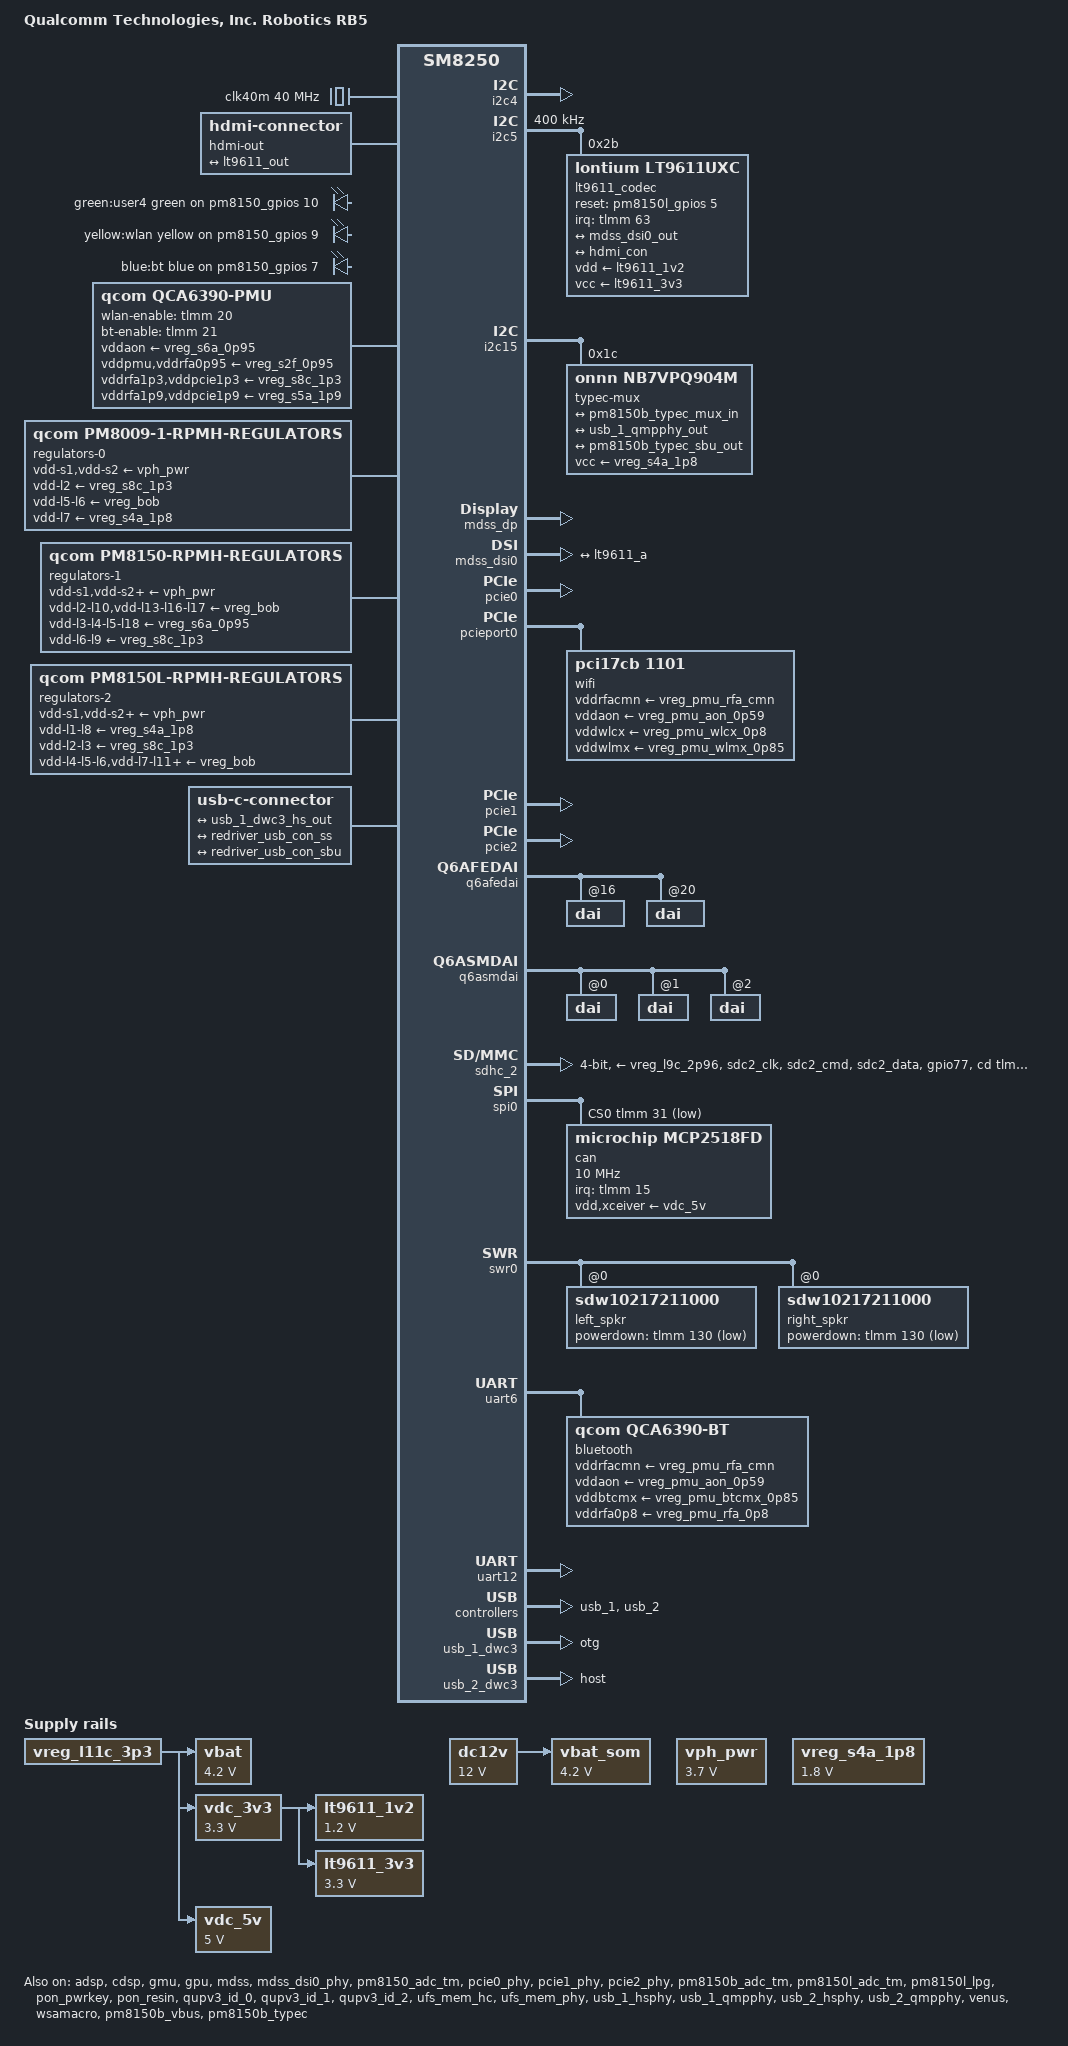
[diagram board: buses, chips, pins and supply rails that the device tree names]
// SPDX-License-Identifier: BSD-3-Clause
/*
 * Copyright (c) 2020, Linaro Ltd.
 */

/dts-v1/;

#include <dt-bindings/leds/common.h>
#include <dt-bindings/regulator/qcom,rpmh-regulator.h>
#include <dt-bindings/sound/qcom,q6afe.h>
#include <dt-bindings/sound/qcom,q6asm.h>
#include <dt-bindings/usb/pd.h>
#include "sm8250.dtsi"
#include "pm8150.dtsi"
#include "pm8150b.dtsi"
#include "pm8150l.dtsi"

/ {
	model = "Qualcomm Technologies, Inc. Robotics RB5";
	compatible = "qcom,qrb5165-rb5", "qcom,sm8250";
	qcom,msm-id = <455 0x20001>;
	qcom,board-id = <11 3>;

	aliases {
		serial0 = &uart12;
		serial1 = &uart6;
		sdhc2 = &sdhc_2;
	};

	chosen {
		stdout-path = "serial0:115200n8";
	};

	/* Fixed crystal oscillator dedicated to MCP2518FD */
	clk40m: can-clock {
		compatible = "fixed-clock";
		#clock-cells = <0>;
		clock-frequency = <40000000>;
	};

	dc12v: dc12v-regulator {
		compatible = "regulator-fixed";
		regulator-name = "DC12V";
		regulator-min-microvolt = <12000000>;
		regulator-max-microvolt = <12000000>;
		regulator-always-on;
	};

	hdmi-out {
		compatible = "hdmi-connector";
		type = "a";

		port {
			hdmi_con: endpoint {
				remote-endpoint = <&lt9611_out>;
			};
		};
	};

	leds {
		compatible = "gpio-leds";

		led-user4 {
			label = "green:user4";
			function = LED_FUNCTION_INDICATOR;
			color = <LED_COLOR_ID_GREEN>;
			gpios = <&pm8150_gpios 10 GPIO_ACTIVE_HIGH>;
			default-state = "off";
			panic-indicator;
		};

		led-wlan {
			label = "yellow:wlan";
			function = LED_FUNCTION_WLAN;
			color = <LED_COLOR_ID_YELLOW>;
			gpios = <&pm8150_gpios 9 GPIO_ACTIVE_HIGH>;
			linux,default-trigger = "phy0tx";
			default-state = "off";
		};

		led-bt {
			label = "blue:bt";
			function = LED_FUNCTION_BLUETOOTH;
			color = <LED_COLOR_ID_BLUE>;
			gpios = <&pm8150_gpios 7 GPIO_ACTIVE_HIGH>;
			linux,default-trigger = "bluetooth-power";
			default-state = "off";
		};
	};

	lt9611_1v2: lt9611-vdd12-regulator {
		compatible = "regulator-fixed";
		regulator-name = "LT9611_1V2";

		vin-supply = <&vdc_3v3>;
		regulator-min-microvolt = <1200000>;
		regulator-max-microvolt = <1200000>;
	};

	lt9611_3v3: lt9611-3v3 {
		compatible = "regulator-fixed";
		regulator-name = "LT9611_3V3";

		vin-supply = <&vdc_3v3>;
		regulator-min-microvolt = <3300000>;
		regulator-max-microvolt = <3300000>;
		regulator-boot-on;
		regulator-always-on;
	};

	qca6390-pmu {
		compatible = "qcom,qca6390-pmu";

		pinctrl-names = "default";
		pinctrl-0 = <&bt_en_state>, <&wlan_en_state>;

		vddaon-supply = <&vreg_s6a_0p95>;
		vddpmu-supply = <&vreg_s2f_0p95>;
		vddrfa0p95-supply = <&vreg_s2f_0p95>;
		vddrfa1p3-supply = <&vreg_s8c_1p3>;
		vddrfa1p9-supply = <&vreg_s5a_1p9>;
		vddpcie1p3-supply = <&vreg_s8c_1p3>;
		vddpcie1p9-supply = <&vreg_s5a_1p9>;
		vddio-supply = <&vreg_s4a_1p8>;

		wlan-enable-gpios = <&tlmm 20 GPIO_ACTIVE_HIGH>;
		bt-enable-gpios = <&tlmm 21 GPIO_ACTIVE_HIGH>;

		regulators {
			vreg_pmu_rfa_cmn: ldo0 {
				regulator-name = "vreg_pmu_rfa_cmn";
			};

			vreg_pmu_aon_0p59: ldo1 {
				regulator-name = "vreg_pmu_aon_0p59";
			};

			vreg_pmu_wlcx_0p8: ldo2 {
				regulator-name = "vreg_pmu_wlcx_0p8";
			};

			vreg_pmu_wlmx_0p85: ldo3 {
				regulator-name = "vreg_pmu_wlmx_0p85";
			};

			vreg_pmu_btcmx_0p85: ldo4 {
				regulator-name = "vreg_pmu_btcmx_0p85";
			};

			vreg_pmu_rfa_0p8: ldo5 {
				regulator-name = "vreg_pmu_rfa_0p8";
			};

			vreg_pmu_rfa_1p2: ldo6 {
				regulator-name = "vreg_pmu_rfa_1p2";
			};

			vreg_pmu_rfa_1p7: ldo7 {
				regulator-name = "vreg_pmu_rfa_1p7";
			};

			vreg_pmu_pcie_0p9: ldo8 {
				regulator-name = "vreg_pmu_pcie_0p9";
			};

			vreg_pmu_pcie_1p8: ldo9 {
				regulator-name = "vreg_pmu_pcie_1p8";
			};
		};
	};

	thermal-zones {
		conn-thermal {
			thermal-sensors = <&pm8150b_adc_tm 0>;

			trips {
				active-config0 {
					temperature = <125000>;
					hysteresis = <1000>;
					type = "critical";
				};
			};
		};

		pm8150l-pcb-thermal {
			thermal-sensors = <&pm8150l_adc_tm 1>;

			trips {
				active-config0 {
					temperature = <50000>;
					hysteresis = <4000>;
					type = "passive";
				};
			};
		};

		skin-msm-thermal {
			thermal-sensors = <&pm8150l_adc_tm 0>;

			trips {
				active-config0 {
					temperature = <50000>;
					hysteresis = <4000>;
					type = "passive";
				};
			};
		};

		wifi-thermal {
			thermal-sensors = <&pm8150_adc_tm 1>;

			trips {
				active-config0 {
					temperature = <52000>;
					hysteresis = <4000>;
					type = "passive";
				};
			};
		};

		xo-thermal {
			thermal-sensors = <&pm8150_adc_tm 0>;

			trips {
				active-config0 {
					temperature = <50000>;
					hysteresis = <4000>;
					type = "passive";
				};
			};
		};
	};

	vbat: vbat-regulator {
		compatible = "regulator-fixed";
		regulator-name = "VBAT";
		vin-supply = <&vreg_l11c_3p3>;
		regulator-min-microvolt = <4200000>;
		regulator-max-microvolt = <4200000>;
		regulator-always-on;
	};

	vbat_som: vbat-som-regulator {
		compatible = "regulator-fixed";
		regulator-name = "VBAT_SOM";
		vin-supply = <&dc12v>;
		regulator-min-microvolt = <4200000>;
		regulator-max-microvolt = <4200000>;
		regulator-always-on;
	};

	vdc_3v3: vdc-3v3-regulator {
		compatible = "regulator-fixed";
		regulator-name = "VDC_3V3";
		vin-supply = <&vreg_l11c_3p3>;
		regulator-min-microvolt = <3300000>;
		regulator-max-microvolt = <3300000>;
		regulator-always-on;
	};

	vdc_5v: vdc-5v-regulator {
		compatible = "regulator-fixed";
		regulator-name = "VDC_5V";

		regulator-min-microvolt = <5000000>;
		regulator-max-microvolt = <5000000>;
		regulator-always-on;
		vin-supply = <&vreg_l11c_3p3>;
	};

	vph_pwr: vph-pwr-regulator {
		compatible = "regulator-fixed";
		regulator-name = "vph_pwr";
		regulator-min-microvolt = <3700000>;
		regulator-max-microvolt = <3700000>;
		regulator-always-on;
	};

	vreg_s4a_1p8: vreg-s4a-1p8 {
		compatible = "regulator-fixed";
		regulator-name = "vreg_s4a_1p8";
		regulator-min-microvolt = <1800000>;
		regulator-max-microvolt = <1800000>;
		regulator-always-on;
	};
};

&adsp {
	status = "okay";
	firmware-name = "qcom/sm8250/adsp.mbn";
};

&apps_rsc {
	regulators-0 {
		compatible = "qcom,pm8009-1-rpmh-regulators";
		qcom,pmic-id = "f";

		vdd-s1-supply = <&vph_pwr>;
		vdd-s2-supply = <&vph_pwr>;
		vdd-l2-supply = <&vreg_s8c_1p3>;
		vdd-l5-l6-supply = <&vreg_bob>;
		vdd-l7-supply = <&vreg_s4a_1p8>;

		vreg_s2f_0p95: smps2 {
			regulator-name = "vreg_s2f_0p95";
			regulator-min-microvolt = <900000>;
			regulator-max-microvolt = <952000>;
			regulator-initial-mode = <RPMH_REGULATOR_MODE_AUTO>;
		};

		vreg_l1f_1p1: ldo1 {
			regulator-name = "vreg_l1f_1p1";
			regulator-min-microvolt = <1104000>;
			regulator-max-microvolt = <1104000>;
			regulator-initial-mode = <RPMH_REGULATOR_MODE_HPM>;
		};

		vreg_l2f_1p2: ldo2 {
			regulator-name = "vreg_l2f_1p2";
			regulator-min-microvolt = <1200000>;
			regulator-max-microvolt = <1200000>;
			regulator-initial-mode = <RPMH_REGULATOR_MODE_HPM>;
		};

		vreg_l6f_2p8: ldo6 {
			regulator-name = "vreg_l6f_2p8";
			regulator-min-microvolt = <2800000>;
			regulator-max-microvolt = <2800000>;
			regulator-initial-mode = <RPMH_REGULATOR_MODE_HPM>;
		};

		vreg_l7f_1p8: ldo7 {
			regulator-name = "vreg_l7f_1p8";
			regulator-min-microvolt = <1800000>;
			regulator-max-microvolt = <1800000>;
			regulator-initial-mode = <RPMH_REGULATOR_MODE_HPM>;
		};
	};

	regulators-1 {
		compatible = "qcom,pm8150-rpmh-regulators";
		qcom,pmic-id = "a";

		vdd-s1-supply = <&vph_pwr>;
		vdd-s2-supply = <&vph_pwr>;
		vdd-s3-supply = <&vph_pwr>;
		vdd-s4-supply = <&vph_pwr>;
		vdd-s5-supply = <&vph_pwr>;
		vdd-s6-supply = <&vph_pwr>;
		vdd-s7-supply = <&vph_pwr>;
		vdd-s8-supply = <&vph_pwr>;
		vdd-s9-supply = <&vph_pwr>;
		vdd-s10-supply = <&vph_pwr>;
		vdd-l2-l10-supply = <&vreg_bob>;
		vdd-l3-l4-l5-l18-supply = <&vreg_s6a_0p95>;
		vdd-l6-l9-supply = <&vreg_s8c_1p3>;
		vdd-l7-l12-l14-l15-supply = <&vreg_s5a_1p9>;
		vdd-l13-l16-l17-supply = <&vreg_bob>;

		vreg_l2a_3p1: ldo2 {
			regulator-name = "vreg_l2a_3p1";
			regulator-min-microvolt = <3072000>;
			regulator-max-microvolt = <3072000>;
			regulator-initial-mode = <RPMH_REGULATOR_MODE_HPM>;
		};

		vreg_l3a_0p9: ldo3 {
			regulator-name = "vreg_l3a_0p9";
			regulator-min-microvolt = <928000>;
			regulator-max-microvolt = <932000>;
			regulator-initial-mode = <RPMH_REGULATOR_MODE_HPM>;
		};

		vreg_l5a_0p88: ldo5 {
			regulator-name = "vreg_l5a_0p88";
			regulator-min-microvolt = <880000>;
			regulator-max-microvolt = <880000>;
			regulator-initial-mode = <RPMH_REGULATOR_MODE_HPM>;
		};

		vreg_l6a_1p2: ldo6 {
			regulator-name = "vreg_l6a_1p2";
			regulator-min-microvolt = <1200000>;
			regulator-max-microvolt = <1200000>;
			regulator-initial-mode = <RPMH_REGULATOR_MODE_HPM>;
		};

		vreg_l7a_1p7: ldo7 {
			regulator-name = "vreg_l7a_1p7";
			regulator-min-microvolt = <1704000>;
			regulator-max-microvolt = <1800000>;
			regulator-initial-mode = <RPMH_REGULATOR_MODE_HPM>;
		};

		vreg_l9a_1p2: ldo9 {
			regulator-name = "vreg_l9a_1p2";
			regulator-min-microvolt = <1200000>;
			regulator-max-microvolt = <1200000>;
			regulator-initial-mode = <RPMH_REGULATOR_MODE_HPM>;
		};

		vreg_l10a_1p8: ldo10 {
			regulator-name = "vreg_l10a_1p8";
			regulator-min-microvolt = <1800000>;
			regulator-max-microvolt = <1800000>;
			regulator-initial-mode = <RPMH_REGULATOR_MODE_HPM>;
		};

		vreg_l12a_1p8: ldo12 {
			regulator-name = "vreg_l12a_1p8";
			regulator-min-microvolt = <1800000>;
			regulator-max-microvolt = <1800000>;
			regulator-initial-mode = <RPMH_REGULATOR_MODE_HPM>;
		};

		vreg_l13a_ts_3p0: ldo13 {
			regulator-name = "vreg_l13a_ts_3p0";
			regulator-min-microvolt = <3008000>;
			regulator-max-microvolt = <3008000>;
			regulator-initial-mode = <RPMH_REGULATOR_MODE_HPM>;
		};

		vreg_l14a_1p8: ldo14 {
			regulator-name = "vreg_l14a_1p8";
			regulator-min-microvolt = <1800000>;
			regulator-max-microvolt = <1880000>;
			regulator-initial-mode = <RPMH_REGULATOR_MODE_HPM>;
		};

		vreg_l15a_1p8: ldo15 {
			regulator-name = "vreg_l15a_1p8";
			regulator-min-microvolt = <1800000>;
			regulator-max-microvolt = <1800000>;
			regulator-initial-mode = <RPMH_REGULATOR_MODE_HPM>;
		};

		vreg_l16a_2p7: ldo16 {
			regulator-name = "vreg_l16a_2p7";
			regulator-min-microvolt = <2704000>;
			regulator-max-microvolt = <2960000>;
			regulator-initial-mode = <RPMH_REGULATOR_MODE_HPM>;
		};

		vreg_l17a_3p0: ldo17 {
			regulator-name = "vreg_l17a_3p0";
			regulator-min-microvolt = <2856000>;
			regulator-max-microvolt = <3008000>;
			regulator-initial-mode = <RPMH_REGULATOR_MODE_HPM>;
		};

		vreg_l18a_0p92: ldo18 {
			regulator-name = "vreg_l18a_0p92";
			regulator-min-microvolt = <800000>;
			regulator-max-microvolt = <912000>;
			regulator-initial-mode = <RPMH_REGULATOR_MODE_HPM>;
		};

		vreg_s5a_1p9: smps5 {
			regulator-name = "vreg_s5a_1p9";
			regulator-min-microvolt = <1904000>;
			regulator-max-microvolt = <2000000>;
			regulator-initial-mode = <RPMH_REGULATOR_MODE_HPM>;
		};

		vreg_s6a_0p95: smps6 {
			regulator-name = "vreg_s6a_0p95";
			regulator-min-microvolt = <920000>;
			regulator-max-microvolt = <1128000>;
			regulator-initial-mode = <RPMH_REGULATOR_MODE_HPM>;
		};
	};

	regulators-2 {
		compatible = "qcom,pm8150l-rpmh-regulators";
		qcom,pmic-id = "c";

		vdd-s1-supply = <&vph_pwr>;
		vdd-s2-supply = <&vph_pwr>;
		vdd-s3-supply = <&vph_pwr>;
		vdd-s4-supply = <&vph_pwr>;
		vdd-s5-supply = <&vph_pwr>;
		vdd-s6-supply = <&vph_pwr>;
		vdd-s7-supply = <&vph_pwr>;
		vdd-s8-supply = <&vph_pwr>;
		vdd-l1-l8-supply = <&vreg_s4a_1p8>;
		vdd-l2-l3-supply = <&vreg_s8c_1p3>;
		vdd-l4-l5-l6-supply = <&vreg_bob>;
		vdd-l7-l11-supply = <&vreg_bob>;
		vdd-l9-l10-supply = <&vreg_bob>;
		vdd-bob-supply = <&vph_pwr>;

		vreg_bob: bob {
			regulator-name = "vreg_bob";
			regulator-min-microvolt = <3008000>;
			regulator-max-microvolt = <4000000>;
			regulator-initial-mode = <RPMH_REGULATOR_MODE_AUTO>;
		};

		vreg_l1c_1p8: ldo1 {
			regulator-name = "vreg_l1c_1p8";
			regulator-min-microvolt = <1800000>;
			regulator-max-microvolt = <1800000>;
			regulator-initial-mode = <RPMH_REGULATOR_MODE_HPM>;
		};

		vreg_l2c_1p2: ldo2 {
			regulator-name = "vreg_l2c_1p2";
			regulator-min-microvolt = <1200000>;
			regulator-max-microvolt = <1200000>;
			regulator-initial-mode = <RPMH_REGULATOR_MODE_HPM>;
		};

		vreg_l3c_0p8: ldo3 {
			regulator-name = "vreg_l3c_0p8";
			regulator-min-microvolt = <800000>;
			regulator-max-microvolt = <800000>;
			regulator-initial-mode = <RPMH_REGULATOR_MODE_HPM>;
		};

		vreg_l4c_1p7: ldo4 {
			regulator-name = "vreg_l4c_1p7";
			regulator-min-microvolt = <1704000>;
			regulator-max-microvolt = <2928000>;
			regulator-initial-mode = <RPMH_REGULATOR_MODE_HPM>;
		};

		vreg_l5c_1p8: ldo5 {
			regulator-name = "vreg_l5c_1p8";
			regulator-min-microvolt = <1800000>;
			regulator-max-microvolt = <2928000>;
			regulator-initial-mode = <RPMH_REGULATOR_MODE_HPM>;
		};

		vreg_l6c_2p96: ldo6 {
			regulator-name = "vreg_l6c_2p96";
			regulator-min-microvolt = <1800000>;
			regulator-max-microvolt = <2960000>;
			regulator-initial-mode = <RPMH_REGULATOR_MODE_HPM>;
		};

		vreg_l7c_cam_vcm0_2p85: ldo7 {
			regulator-name = "vreg_l7c_cam_vcm0_2p85";
			regulator-min-microvolt = <2856000>;
			regulator-max-microvolt = <3104000>;
			regulator-initial-mode = <RPMH_REGULATOR_MODE_HPM>;
		};

		vreg_l8c_1p8: ldo8 {
			regulator-name = "vreg_l8c_1p8";
			regulator-min-microvolt = <1800000>;
			regulator-max-microvolt = <1800000>;
			regulator-initial-mode = <RPMH_REGULATOR_MODE_HPM>;
		};

		vreg_l9c_2p96: ldo9 {
			regulator-name = "vreg_l9c_2p96";
			regulator-min-microvolt = <2704000>;
			regulator-max-microvolt = <2960000>;
			regulator-initial-mode = <RPMH_REGULATOR_MODE_HPM>;
		};

		vreg_l10c_3p0: ldo10 {
			regulator-name = "vreg_l10c_3p0";
			regulator-min-microvolt = <3000000>;
			regulator-max-microvolt = <3000000>;
			regulator-initial-mode = <RPMH_REGULATOR_MODE_HPM>;
		};

		vreg_l11c_3p3: ldo11 {
			regulator-name = "vreg_l11c_3p3";
			regulator-min-microvolt = <3296000>;
			regulator-max-microvolt = <3296000>;
			regulator-initial-mode = <RPMH_REGULATOR_MODE_HPM>;
			regulator-always-on;
		};

		vreg_s8c_1p3: smps8 {
			regulator-name = "vreg_s8c_1p3";
			regulator-min-microvolt = <1352000>;
			regulator-max-microvolt = <1352000>;
			regulator-initial-mode = <RPMH_REGULATOR_MODE_HPM>;
		};
	};
};

&cdsp {
	status = "okay";
	firmware-name = "qcom/sm8250/cdsp.mbn";
};

&gmu {
	status = "okay";
};

&gpu {
	status = "okay";

	zap-shader {
		memory-region = <&gpu_mem>;
		firmware-name = "qcom/sm8250/a650_zap.mbn";
	};
};

/* LS-I2C0 */
&i2c4 {
	status = "okay";
};

&i2c5 {
	status = "okay";
	clock-frequency = <400000>;

	lt9611_codec: hdmi-bridge@2b {
		compatible = "lontium,lt9611uxc";
		reg = <0x2b>;
		#sound-dai-cells = <1>;

		interrupts-extended = <&tlmm 63 IRQ_TYPE_EDGE_FALLING>;

		reset-gpios = <&pm8150l_gpios 5 GPIO_ACTIVE_HIGH>;

		vdd-supply = <&lt9611_1v2>;
		vcc-supply = <&lt9611_3v3>;

		pinctrl-names = "default";
		pinctrl-0 = <&lt9611_irq_pin &lt9611_rst_pin>;

		ports {
			#address-cells = <1>;
			#size-cells = <0>;

			port@0 {
				reg = <0>;

				lt9611_a: endpoint {
					remote-endpoint = <&mdss_dsi0_out>;
				};
			};

#if 0
			port@1 {
				reg = <1>;

				lt9611_b: endpoint {
					remote-endpoint = <&mdss_dsi1_out>;
				};
			};
#endif

			port@2 {
				reg = <2>;

				lt9611_out: endpoint {
					remote-endpoint = <&hdmi_con>;
				};
			};

		};
	};
};

/* LS-I2C1 */
&i2c15 {
	status = "okay";

	typec-mux@1c {
		compatible = "onnn,nb7vpq904m";
		reg = <0x1c>;

		vcc-supply = <&vreg_s4a_1p8>;

		retimer-switch;
		orientation-switch;

		ports {
			#address-cells = <1>;
			#size-cells = <0>;

			port@0 {
				reg = <0>;

				redriver_usb_con_ss: endpoint {
					remote-endpoint = <&pm8150b_typec_mux_in>;
				};
			};

			port@1 {
				reg = <1>;

				redriver_phy_con_ss: endpoint {
					remote-endpoint = <&usb_1_qmpphy_out>;
					data-lanes = <0 1 2 3>;
				};
			};

			port@2 {
				reg = <2>;

				redriver_usb_con_sbu: endpoint {
					remote-endpoint = <&pm8150b_typec_sbu_out>;
				};
			};
		};
	};
};

&mdss {
	status = "okay";
};

&mdss_dp {
	status = "okay";
};

&mdss_dp_out {
	data-lanes = <0 1>;
	remote-endpoint = <&usb_1_qmpphy_dp_in>;
};

&mdss_dsi0 {
	status = "okay";
	vdda-supply = <&vreg_l9a_1p2>;

#if 0
	qcom,dual-dsi-mode;
	qcom,master-dsi;
#endif

	ports {
		port@1 {
			endpoint {
				remote-endpoint = <&lt9611_a>;
				data-lanes = <0 1 2 3>;
			};
		};
	};
};

&mdss_dsi0_phy {
	status = "okay";
	vdds-supply = <&vreg_l5a_0p88>;
};

&pm8150_adc {
	channel@4c {
		reg = <ADC5_XO_THERM_100K_PU>;
		qcom,ratiometric;
		qcom,hw-settle-time = <200>;
		label = "xo_therm";
	};

	channel@4e {
		reg = <ADC5_AMUX_THM2_100K_PU>;
		qcom,ratiometric;
		qcom,hw-settle-time = <200>;
		label = "wifi_therm";
	};
};

&pm8150_adc_tm {
	status = "okay";

	xo-therm@0 {
		reg = <0>;
		io-channels = <&pm8150_adc ADC5_XO_THERM_100K_PU>;
		qcom,ratiometric;
		qcom,hw-settle-time-us = <200>;
	};

	wifi-therm@1 {
		reg = <1>;
		io-channels = <&pm8150_adc ADC5_AMUX_THM2_100K_PU>;
		qcom,ratiometric;
		qcom,hw-settle-time-us = <200>;
	};
};

&pcie0 {
	status = "okay";
};

&pcie0_phy {
	status = "okay";
	vdda-phy-supply = <&vreg_l5a_0p88>;
	vdda-pll-supply = <&vreg_l9a_1p2>;
};

&pcieport0 {
	wifi@0 {
		compatible = "pci17cb,1101";
		reg = <0x10000 0x0 0x0 0x0 0x0>;

		vddrfacmn-supply = <&vreg_pmu_rfa_cmn>;
		vddaon-supply = <&vreg_pmu_aon_0p59>;
		vddwlcx-supply = <&vreg_pmu_wlcx_0p8>;
		vddwlmx-supply = <&vreg_pmu_wlmx_0p85>;
		vddrfa0p8-supply = <&vreg_pmu_rfa_0p8>;
		vddrfa1p2-supply = <&vreg_pmu_rfa_1p2>;
		vddrfa1p7-supply = <&vreg_pmu_rfa_1p7>;
		vddpcie0p9-supply = <&vreg_pmu_pcie_0p9>;
		vddpcie1p8-supply = <&vreg_pmu_pcie_1p8>;
	};
};

&pcie1 {
	status = "okay";
};

&pcie1_phy {
	status = "okay";
	vdda-phy-supply = <&vreg_l5a_0p88>;
	vdda-pll-supply = <&vreg_l9a_1p2>;
};

&pcie2 {
	status = "okay";
};

&pcie2_phy {
	status = "okay";
	vdda-phy-supply = <&vreg_l5a_0p88>;
	vdda-pll-supply = <&vreg_l9a_1p2>;
};

&pm8150_gpios {
	gpio-reserved-ranges = <1 1>, <3 2>, <7 1>;
	gpio-line-names =
		"NC",
		"OPTION2",
		"PM_GPIO-F",
		"PM_SLP_CLK_IN",
		"OPTION1",
		"VOL_UP_N",
		"PM8250_GPIO7", /* Blue LED */
		"SP_ARI_PWR_ALARM",
		"GPIO_9_P", /* Yellow LED */
		"GPIO_10_P"; /* Green LED */
};

&pm8150b_adc {
	channel@4f {
		reg = <ADC5_AMUX_THM3_100K_PU>;
		qcom,ratiometric;
		qcom,hw-settle-time = <200>;
		label = "conn_therm";
	};
};

&pm8150b_adc_tm {
	status = "okay";

	conn-therm@0 {
		reg = <0>;
		io-channels = <&pm8150b_adc ADC5_AMUX_THM3_100K_PU>;
		qcom,ratiometric;
		qcom,hw-settle-time-us = <200>;
	};
};

&pm8150b_gpios {
	gpio-line-names =
		"NC",
		"NC",
		"NC",
		"NC",
		"HAP_BOOST_EN", /* SOM */
		"SMB_STAT", /* SOM */
		"NC",
		"NC",
		"SDM_FORCE_USB_BOOT",
		"NC",
		"NC",
		"NC";
};

&pm8150l_adc {
	channel@4e {
		reg = <ADC5_AMUX_THM2_100K_PU>;
		qcom,ratiometric;
		qcom,hw-settle-time = <200>;
		label = "skin_msm_therm";
	};

	channel@4f {
		reg = <ADC5_AMUX_THM3_100K_PU>;
		qcom,ratiometric;
		qcom,hw-settle-time = <200>;
		label = "pm8150l_therm";
	};
};

&pm8150l_adc_tm {
	status = "okay";

	skin-msm-therm@0 {
		reg = <0>;
		io-channels = <&pm8150l_adc ADC5_AMUX_THM2_100K_PU>;
		qcom,ratiometric;
		qcom,hw-settle-time-us = <200>;
	};

	pm8150l-therm@1 {
		reg = <1>;
		io-channels = <&pm8150l_adc ADC5_AMUX_THM3_100K_PU>;
		qcom,ratiometric;
		qcom,hw-settle-time-us = <200>;
	};
};

&pm8150l_gpios {
	gpio-line-names =
		"NC",
		"PM3003A_EN",
		"NC",
		"NC",
		"PM_GPIO5", /* HDMI RST_N */
		"PM_GPIO-A", /* PWM */
		"PM_GPIO7",
		"NC",
		"NC",
		"PM_GPIO-B",
		"NC",
		"PM3003A_MODE";

	lt9611_rst_pin: lt9611-rst-state {
		pins = "gpio5";
		function = "normal";

		output-high;
		input-disable;
		power-source = <0>;
	};
};

&pm8150l_lpg {
	status = "okay";

	#address-cells = <1>;
	#size-cells = <0>;

	led@1 {
		reg = <1>;
		color = <LED_COLOR_ID_GREEN>;
		function = LED_FUNCTION_HEARTBEAT;
		function-enumerator = <3>;

		linux,default-trigger = "heartbeat";
		default-state = "on";
	};

	led@2 {
		reg = <2>;
		color = <LED_COLOR_ID_GREEN>;
		function = LED_FUNCTION_INDICATOR;
		function-enumerator = <2>;
		default-state = "on";
	};

	led@3 {
		reg = <3>;
		color = <LED_COLOR_ID_GREEN>;
		function = LED_FUNCTION_INDICATOR;
		function-enumerator = <1>;
	};
};

&pon_pwrkey {
	status = "okay";
};

&pon_resin {
	status = "okay";

	linux,code = <KEY_VOLUMEDOWN>;
};

&qupv3_id_0 {
	status = "okay";
};

&qupv3_id_1 {
	status = "okay";
};

&qupv3_id_2 {
	status = "okay";
};

&q6afedai {
	dai@16 {
		reg = <PRIMARY_MI2S_RX>;
		qcom,sd-lines = <0 1 2 3>;
	};
};

/* TERT I2S Uses 1 I2S SD Lines for audio on LT9611 HDMI Bridge */
&q6afedai {
	dai@20 {
		reg = <TERTIARY_MI2S_RX>;
		qcom,sd-lines = <0>;
	};
};

&q6asmdai {
	dai@0 {
		reg = <0>;
	};

	dai@1 {
		reg = <1>;
	};

	dai@2 {
		reg = <2>;
	};
};

&sdhc_2 {
	status = "okay";
	pinctrl-names = "default";
	pinctrl-0 = <&sdc2_default_state &sdc2_card_det_n>;
	vmmc-supply = <&vreg_l9c_2p96>;
	vqmmc-supply = <&vreg_l6c_2p96>;
	cd-gpios = <&tlmm 77 GPIO_ACTIVE_LOW>;
	bus-width = <4>;
	no-sdio;
	no-mmc;
};

&sound {
	compatible = "qcom,qrb5165-rb5-sndcard";
	pinctrl-0 = <&tert_mi2s_active>;
	pinctrl-names = "default";
	model = "Qualcomm-RB5-WSA8815-Speakers-DMIC0";
	audio-routing =
		"SpkrLeft IN", "WSA_SPK1 OUT",
		"SpkrRight IN", "WSA_SPK2 OUT",
		"VA DMIC0", "vdd-micb",
		"VA DMIC1", "vdd-micb",
		"MM_DL1",  "MultiMedia1 Playback",
		"MM_DL2",  "MultiMedia2 Playback",
		"MultiMedia3 Capture", "MM_UL3";

	mm1-dai-link {
		link-name = "MultiMedia1";
		cpu {
			sound-dai = <&q6asmdai  MSM_FRONTEND_DAI_MULTIMEDIA1>;
		};
	};

	mm2-dai-link {
		link-name = "MultiMedia2";
		cpu {
			sound-dai = <&q6asmdai  MSM_FRONTEND_DAI_MULTIMEDIA2>;
		};
	};

	mm3-dai-link {
		link-name = "MultiMedia3";
		cpu {
			sound-dai = <&q6asmdai  MSM_FRONTEND_DAI_MULTIMEDIA3>;
		};
	};

	hdmi-dai-link {
		link-name = "HDMI Playback";
		cpu {
			sound-dai = <&q6afedai TERTIARY_MI2S_RX>;
		};

		platform {
			sound-dai = <&q6routing>;
		};

		codec {
			sound-dai = <&lt9611_codec 0>;
		};
	};

	dma-dai-link {
		link-name = "WSA Playback";
		cpu {
			sound-dai = <&q6afedai WSA_CODEC_DMA_RX_0>;
		};

		platform {
			sound-dai = <&q6routing>;
		};

		codec {
			sound-dai = <&left_spkr>, <&right_spkr>, <&swr0 0>, <&wsamacro 0>;
		};
	};

	va-dai-link {
		link-name = "VA Capture";
		cpu {
			sound-dai = <&q6afedai VA_CODEC_DMA_TX_0>;
		};

		platform {
			sound-dai = <&q6routing>;
		};

		codec {
			sound-dai = <&vamacro 0>;
		};
	};
};

/* CAN */
&spi0 {
	status = "okay";
	pinctrl-names = "default";
	pinctrl-0 = <&qup_spi0_data_clk>, <&qup_spi0_cs_gpio>;
	cs-gpios = <&tlmm 31 GPIO_ACTIVE_LOW>;

	can@0 {
		compatible = "microchip,mcp2518fd";
		reg = <0>;
		clocks = <&clk40m>;
		interrupts-extended = <&tlmm 15 IRQ_TYPE_LEVEL_LOW>;
		spi-max-frequency = <10000000>;
		vdd-supply = <&vdc_5v>;
		xceiver-supply = <&vdc_5v>;
	};
};

&swr0 {
	status = "okay";

	left_spkr: speaker@0,3 {
		compatible = "sdw10217211000";
		reg = <0 3>;
		powerdown-gpios = <&tlmm 130 GPIO_ACTIVE_LOW>;
		#thermal-sensor-cells = <0>;
		sound-name-prefix = "SpkrLeft";
		#sound-dai-cells = <0>;
	};

	right_spkr: speaker@0,4 {
		compatible = "sdw10217211000";
		reg = <0 4>;
		powerdown-gpios = <&tlmm 130 GPIO_ACTIVE_LOW>;
		#thermal-sensor-cells = <0>;
		sound-name-prefix = "SpkrRight";
		#sound-dai-cells = <0>;
	};
};

&tlmm {
	gpio-reserved-ranges = <40 4>;
	gpio-line-names =
		"GPIO-MM",
		"GPIO-NN",
		"GPIO-OO",
		"GPIO-PP",
		"GPIO-A",
		"GPIO-C",
		"GPIO-E",
		"GPIO-D",
		"I2C0-SDA",
		"I2C0-SCL",
		"GPIO-TT", /* GPIO_10 */
		"NC",
		"GPIO_12_I2C_SDA",
		"GPIO_13_I2C_SCL",
		"GPIO-X",
		"GPIO_15_RGMII_INT",
		"HST_BT_UART_CTS",
		"HST_BT_UART_RFR",
		"HST_BT_UART_TX",
		"HST_BT_UART_RX",
		"HST_WLAN_EN", /* GPIO_20 */
		"HST_BT_EN",
		"GPIO-AAA",
		"GPIO-BBB",
		"GPIO-CCC",
		"GPIO-Z",
		"GPIO-DDD",
		"GPIO-BB",
		"GPIO_28_CAN_SPI_MISO",
		"GPIO_29_CAN_SPI_MOSI",
		"GPIO_30_CAN_SPI_CLK", /* GPIO_30 */
		"GPIO_31_CAN_SPI_CS",
		"GPIO-UU",
		"NC",
		"UART1_TXD_SOM",
		"UART1_RXD_SOM",
		"UART0_CTS",
		"UART0_RTS",
		"UART0_TXD",
		"UART0_RXD",
		"SPI1_MISO", /* GPIO_40 */
		"SPI1_MOSI",
		"SPI1_CLK",
		"SPI1_CS",
		"I2C1_SDA",
		"I2C1_SCL",
		"GPIO-F",
		"GPIO-JJ",
		"Board_ID1",
		"Board_ID2",
		"NC", /* GPIO_50 */
		"NC",
		"SPI0_MISO",
		"SPI0_MOSI",
		"SPI0_SCLK",
		"SPI0_CS",
		"GPIO-QQ",
		"GPIO-RR",
		"USB2LAN_RESET",
		"USB2LAN_EXTWAKE",
		"NC", /* GPIO_60 */
		"NC",
		"NC",
		"LT9611_INT",
		"GPIO-AA",
		"USB_CC_DIR",
		"GPIO-G",
		"GPIO-LL",
		"USB_DP_HPD_1P8",
		"NC",
		"NC", /* GPIO_70 */
		"SD_CMD",
		"SD_DAT3",
		"SD_SCLK",
		"SD_DAT2",
		"SD_DAT1",
		"SD_DAT0", /* BOOT_CFG3 */
		"SD_UFS_CARD_DET_N",
		"GPIO-II",
		"PCIE0_RST_N",
		"PCIE0_CLK_REQ_N", /* GPIO_80 */
		"PCIE0_WAKE_N",
		"GPIO-CC",
		"GPIO-DD",
		"GPIO-EE",
		"GPIO-FF",
		"GPIO-GG",
		"GPIO-HH",
		"GPIO-VV",
		"GPIO-WW",
		"NC", /* GPIO_90 */
		"NC",
		"GPIO-K",
		"GPIO-I",
		"CSI0_MCLK",
		"CSI1_MCLK",
		"CSI2_MCLK",
		"CSI3_MCLK",
		"GPIO-AA", /* CSI4_MCLK */
		"GPIO-BB", /* CSI5_MCLK */
		"GPIO-KK", /* GPIO_100 */
		"CCI_I2C_SDA0",
		"CCI_I2C_SCL0",
		"CCI_I2C_SDA1",
		"CCI_I2C_SCL1",
		"CCI_I2C_SDA2",
		"CCI_I2C_SCL2",
		"CCI_I2C_SDA3",
		"CCI_I2C_SCL3",
		"GPIO-L",
		"NC", /* GPIO_110 */
		"NC",
		"ACCEL_INT",
		"GYRO_INT",
		"GPIO-J",
		"GPIO-YY",
		"GPIO-H",
		"GPIO-ZZ",
		"NC",
		"NC",
		"NC", /* GPIO_120 */
		"NC",
		"MAG_INT",
		"MAG_DRDY_INT",
		"HST_SW_CTRL",
		"GPIO-M",
		"GPIO-N",
		"GPIO-O",
		"GPIO-P",
		"PS_INT",
		"WSA1_EN", /* GPIO_130 */
		"USB_HUB_RESET",
		"SDM_FORCE_USB_BOOT",
		"I2S1_CLK_HDMI",
		"I2S1_DATA0_HDMI",
		"I2S1_WS_HDMI",
		"GPIO-B",
		"GPIO_137", /* To LT9611_I2S_MCLK_3V3 */
		"PCM_CLK",
		"PCM_DI",
		"PCM_DO", /* GPIO_140 */
		"PCM_FS",
		"HST_SLIM_CLK",
		"HST_SLIM_DATA",
		"GPIO-U",
		"GPIO-Y",
		"GPIO-R",
		"GPIO-Q",
		"GPIO-S",
		"GPIO-T",
		"GPIO-V", /* GPIO_150 */
		"GPIO-W",
		"DMIC_CLK1",
		"DMIC_DATA1",
		"DMIC_CLK2",
		"DMIC_DATA2",
		"WSA_SWR_CLK",
		"WSA_SWR_DATA",
		"DMIC_CLK3",
		"DMIC_DATA3",
		"I2C4_SDA", /* GPIO_160 */
		"I2C4_SCL",
		"SPI3_CS1",
		"SPI3_CS2",
		"SPI2_MISO_LS3",
		"SPI2_MOSI_LS3",
		"SPI2_CLK_LS3",
		"SPI2_ACCEL_CS_LS3",
		"SPI2_CS1",
		"NC",
		"GPIO-SS", /* GPIO_170 */
		"GPIO-XX",
		"SPI3_MISO",
		"SPI3_MOSI",
		"SPI3_CLK",
		"SPI3_CS",
		"HST_BLE_SNS_UART_TX",
		"HST_BLE_SNS_UART_RX",
		"HST_WLAN_UART_TX",
		"HST_WLAN_UART_RX";

	bt_en_state: bt-default-state {
		pins = "gpio21";
		function = "gpio";
		drive-strength = <16>;
		output-low;
		bias-pull-up;
	};

	lt9611_irq_pin: lt9611-irq-state {
		pins = "gpio63";
		function = "gpio";
		bias-disable;
	};

	sdc2_default_state: sdc2-default-state {
		clk-pins {
			pins = "sdc2_clk";
			bias-disable;
			drive-strength = <16>;
		};

		cmd-pins {
			pins = "sdc2_cmd";
			bias-pull-up;
			drive-strength = <10>;
		};

		data-pins {
			pins = "sdc2_data";
			bias-pull-up;
			drive-strength = <10>;
		};
	};

	sdc2_card_det_n: sd-card-det-n-state {
		pins = "gpio77";
		function = "gpio";
		bias-pull-up;
	};

	wlan_en_state: wlan-default-state {
		pins = "gpio20";
		function = "gpio";
		drive-strength = <16>;
		output-low;
		bias-pull-up;
	};
};

&uart6 {
	status = "okay";

	bluetooth {
		compatible = "qcom,qca6390-bt";

		vddrfacmn-supply = <&vreg_pmu_rfa_cmn>;
		vddaon-supply = <&vreg_pmu_aon_0p59>;
		vddbtcmx-supply = <&vreg_pmu_btcmx_0p85>;
		vddrfa0p8-supply = <&vreg_pmu_rfa_0p8>;
		vddrfa1p2-supply = <&vreg_pmu_rfa_1p2>;
		vddrfa1p7-supply = <&vreg_pmu_rfa_1p7>;
	};
};

&uart12 {
	status = "okay";
};

&ufs_mem_hc {
	status = "okay";

	vcc-supply = <&vreg_l17a_3p0>;
	vcc-max-microamp = <800000>;
	vccq-supply = <&vreg_l6a_1p2>;
	vccq-max-microamp = <800000>;
	vccq2-supply = <&vreg_s4a_1p8>;
	vccq2-max-microamp = <800000>;
};

&ufs_mem_phy {
	status = "okay";

	vdda-phy-supply = <&vreg_l5a_0p88>;
	vdda-pll-supply = <&vreg_l9a_1p2>;
};

&usb_1 {
	status = "okay";
};

&usb_1_dwc3 {
	dr_mode = "otg";
	usb-role-switch;
};

&usb_1_dwc3_hs_out {
	remote-endpoint = <&pm8150b_hs_in>;
};

&usb_1_hsphy {
	status = "okay";

	vdda-pll-supply = <&vreg_l5a_0p88>;
	vdda33-supply = <&vreg_l2a_3p1>;
	vdda18-supply = <&vreg_l12a_1p8>;
};

&usb_1_qmpphy {
	status = "okay";

	vdda-phy-supply = <&vreg_l9a_1p2>;
	vdda-pll-supply = <&vreg_l18a_0p92>;
};

&usb_1_qmpphy_out {
	remote-endpoint = <&redriver_phy_con_ss>;
};

&usb_2 {
	status = "okay";
};

&usb_2_dwc3 {
	dr_mode = "host";
};

&usb_2_hsphy {
	status = "okay";

	vdda-pll-supply = <&vreg_l5a_0p88>;
	vdda33-supply = <&vreg_l2a_3p1>;
	vdda18-supply = <&vreg_l12a_1p8>;
};

&usb_2_qmpphy {
	status = "okay";

	vdda-phy-supply = <&vreg_l9a_1p2>;
	vdda-pll-supply = <&vreg_l18a_0p92>;
};

&vamacro {
	pinctrl-0 = <&dmic01_active>;
	pinctrl-names = "default";
	vdd-micb-supply = <&vreg_s4a_1p8>;
	qcom,dmic-sample-rate = <600000>;
};

&venus {
	status = "okay";
};

&wsamacro {
	status = "okay";
};

/* PINCTRL - additions to nodes defined in sm8250.dtsi */
&qup_spi0_cs_gpio {
	drive-strength = <6>;
	bias-disable;
};

&qup_spi0_data_clk {
	drive-strength = <6>;
	bias-disable;
};

&pm8150b_vbus {
	regulator-min-microamp = <500000>;
	regulator-max-microamp = <3000000>;
	status = "okay";
};

&pm8150b_typec {
	status = "okay";

	vdd-pdphy-supply = <&vreg_l2a_3p1>;

	connector {
		compatible = "usb-c-connector";

		power-role = "source";
		data-role = "dual";
		self-powered;

		source-pdos = <PDO_FIXED(5000, 3000,
					 PDO_FIXED_DUAL_ROLE |
					 PDO_FIXED_USB_COMM |
					 PDO_FIXED_DATA_SWAP)>;

		altmodes {
			displayport {
				svid = /bits/ 16 <0xff01>;
				vdo = <0x00001c46>;
			};
		};

		ports {
			#address-cells = <1>;
			#size-cells = <0>;

			port@0 {
				reg = <0>;
				pm8150b_hs_in: endpoint {
					remote-endpoint = <&usb_1_dwc3_hs_out>;
				};
			};

			port@1 {
				reg = <1>;
				pm8150b_typec_mux_in: endpoint {
					remote-endpoint = <&redriver_usb_con_ss>;
				};
			};

			port@2 {
				reg = <2>;

				pm8150b_typec_sbu_out: endpoint {
					remote-endpoint = <&redriver_usb_con_sbu>;
				};
			};
		};
	};
};

&usb_1_qmpphy_dp_in {
	remote-endpoint = <&mdss_dp_out>;
};
